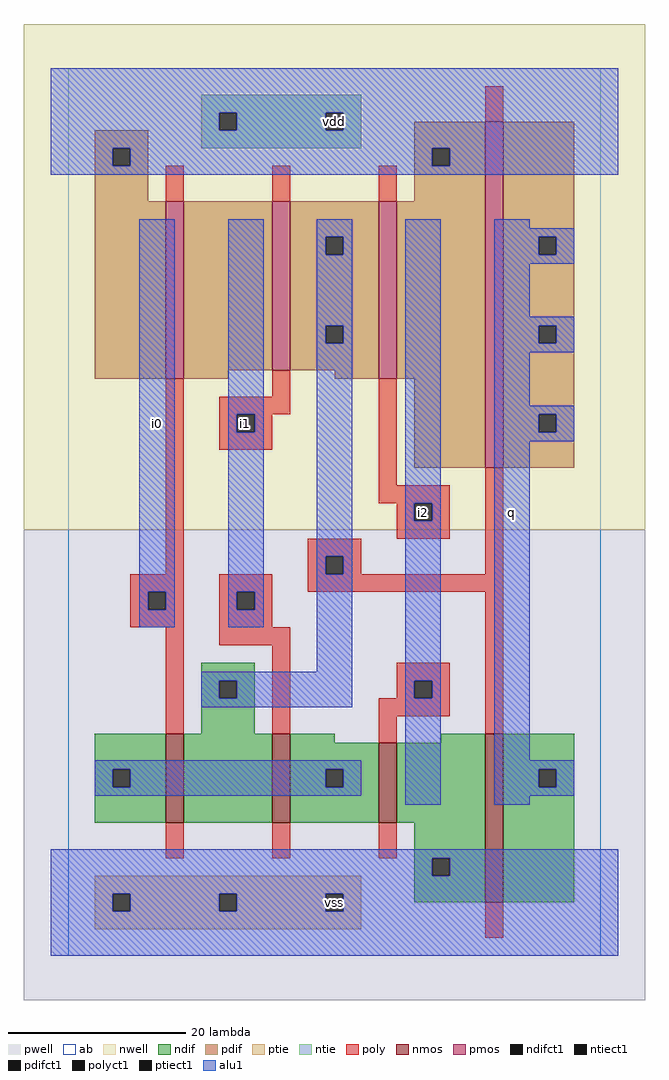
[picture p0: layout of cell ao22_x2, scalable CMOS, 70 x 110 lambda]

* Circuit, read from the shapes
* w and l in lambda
.subckt ao22_x2 i0 i1 i2 q vdd vss
M1 n1 i0 n2 vss nfet w=10 l=2
M2 n2 i1 n1 vss nfet w=10 l=2
M3 vss i2 n2 vss nfet w=9 l=2
M4 q n1 vss vss nfet w=19 l=2
M5 n3 i0 vdd vdd pfet w=20 l=2
M6 n1 i1 n3 vdd pfet w=19 l=2
M7 vdd i2 n1 vdd pfet w=20 l=2
M8 q n1 vdd vdd pfet w=39 l=2
.ends

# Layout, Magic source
magic
tech scmos
<< ab >>
rect 0 0 60 100
<< nwell >>
rect -5 48 65 105
<< pwell >>
rect -5 -5 65 48
<< poly >>
rect 47 94 49 98
rect 11 85 13 89
rect 23 85 25 89
rect 35 85 37 89
rect 11 43 13 65
rect 23 63 25 66
rect 17 61 25 63
rect 17 59 19 61
rect 21 59 23 61
rect 17 57 23 59
rect 35 53 37 65
rect 35 51 43 53
rect 37 49 39 51
rect 41 49 43 51
rect 37 47 43 49
rect 27 45 33 47
rect 27 43 29 45
rect 31 43 33 45
rect 47 43 49 55
rect 7 41 13 43
rect 7 39 9 41
rect 11 39 13 41
rect 7 37 13 39
rect 11 25 13 37
rect 17 41 23 43
rect 27 41 49 43
rect 17 39 19 41
rect 21 39 23 41
rect 17 37 23 39
rect 17 35 25 37
rect 23 25 25 35
rect 37 31 43 33
rect 37 29 39 31
rect 41 29 43 31
rect 35 27 43 29
rect 35 24 37 27
rect 47 25 49 41
rect 11 11 13 15
rect 23 11 25 15
rect 35 11 37 15
rect 47 2 49 6
<< ndif >>
rect 15 31 21 33
rect 15 29 17 31
rect 19 29 21 31
rect 15 25 21 29
rect 3 21 11 25
rect 3 19 5 21
rect 7 19 11 21
rect 3 15 11 19
rect 13 15 23 25
rect 25 24 30 25
rect 42 24 47 25
rect 25 21 35 24
rect 25 19 29 21
rect 31 19 35 21
rect 25 15 35 19
rect 37 15 47 24
rect 39 11 47 15
rect 39 9 41 11
rect 43 9 47 11
rect 39 6 47 9
rect 49 21 57 25
rect 49 19 53 21
rect 55 19 57 21
rect 49 6 57 19
<< pdif >>
rect 3 91 9 93
rect 39 91 47 94
rect 3 89 5 91
rect 7 89 9 91
rect 39 89 41 91
rect 43 89 47 91
rect 3 85 9 89
rect 39 85 47 89
rect 3 65 11 85
rect 13 66 23 85
rect 25 81 35 85
rect 25 79 29 81
rect 31 79 35 81
rect 25 71 35 79
rect 25 69 29 71
rect 31 69 35 71
rect 25 66 35 69
rect 13 65 18 66
rect 30 65 35 66
rect 37 65 47 85
rect 39 55 47 65
rect 49 81 57 94
rect 49 79 53 81
rect 55 79 57 81
rect 49 71 57 79
rect 49 69 53 71
rect 55 69 57 71
rect 49 61 57 69
rect 49 59 53 61
rect 55 59 57 61
rect 49 55 57 59
<< alu1 >>
rect -2 95 62 100
rect -2 93 17 95
rect 19 93 29 95
rect 31 93 62 95
rect -2 91 62 93
rect -2 89 5 91
rect 7 89 41 91
rect 43 89 62 91
rect -2 88 62 89
rect 8 41 12 83
rect 8 39 9 41
rect 11 39 12 41
rect 8 37 12 39
rect 18 61 22 83
rect 18 59 19 61
rect 21 59 22 61
rect 18 41 22 59
rect 18 39 19 41
rect 21 39 22 41
rect 18 37 22 39
rect 28 81 32 83
rect 28 79 29 81
rect 31 79 32 81
rect 28 71 32 79
rect 28 69 29 71
rect 31 69 32 71
rect 28 45 32 69
rect 28 43 29 45
rect 31 43 32 45
rect 28 32 32 43
rect 15 31 32 32
rect 15 29 17 31
rect 19 29 32 31
rect 15 28 32 29
rect 38 51 42 83
rect 38 49 39 51
rect 41 49 42 51
rect 38 31 42 49
rect 38 29 39 31
rect 41 29 42 31
rect 3 21 33 22
rect 3 19 5 21
rect 7 19 29 21
rect 31 19 33 21
rect 3 18 33 19
rect 38 17 42 29
rect 48 82 52 83
rect 48 81 57 82
rect 48 79 53 81
rect 55 79 57 81
rect 48 78 57 79
rect 48 72 52 78
rect 48 71 57 72
rect 48 69 53 71
rect 55 69 57 71
rect 48 68 57 69
rect 48 62 52 68
rect 48 61 57 62
rect 48 59 53 61
rect 55 59 57 61
rect 48 58 57 59
rect 48 22 52 58
rect 48 21 57 22
rect 48 19 53 21
rect 55 19 57 21
rect 48 18 57 19
rect 48 17 52 18
rect -2 11 62 12
rect -2 9 41 11
rect 43 9 62 11
rect -2 7 62 9
rect -2 5 5 7
rect 7 5 17 7
rect 19 5 29 7
rect 31 5 62 7
rect -2 0 62 5
<< ptie >>
rect 3 7 33 9
rect 3 5 5 7
rect 7 5 17 7
rect 19 5 29 7
rect 31 5 33 7
rect 3 3 33 5
<< ntie >>
rect 15 95 33 97
rect 15 93 17 95
rect 19 93 29 95
rect 31 93 33 95
rect 15 91 33 93
<< nmos >>
rect 11 15 13 25
rect 23 15 25 25
rect 35 15 37 24
rect 47 6 49 25
<< pmos >>
rect 11 65 13 85
rect 23 66 25 85
rect 35 65 37 85
rect 47 55 49 94
<< polyct1 >>
rect 19 59 21 61
rect 39 49 41 51
rect 29 43 31 45
rect 9 39 11 41
rect 19 39 21 41
rect 39 29 41 31
<< ndifct1 >>
rect 17 29 19 31
rect 5 19 7 21
rect 29 19 31 21
rect 41 9 43 11
rect 53 19 55 21
<< ntiect1 >>
rect 17 93 19 95
rect 29 93 31 95
<< ptiect1 >>
rect 5 5 7 7
rect 17 5 19 7
rect 29 5 31 7
<< pdifct1 >>
rect 5 89 7 91
rect 41 89 43 91
rect 29 79 31 81
rect 29 69 31 71
rect 53 79 55 81
rect 53 69 55 71
rect 53 59 55 61
<< labels >>
rlabel alu1 10 60 10 60 6 i0
rlabel polyct1 20 60 20 60 6 i1
rlabel ptiect1 30 6 30 6 6 vss
rlabel polyct1 40 50 40 50 6 i2
rlabel ntiect1 30 94 30 94 6 vdd
rlabel alu1 50 50 50 50 6 q
<< end >>
